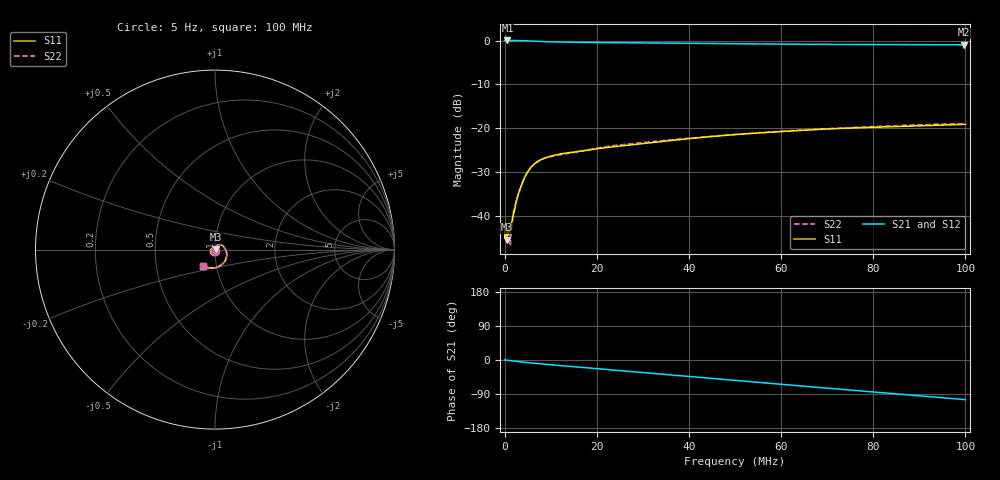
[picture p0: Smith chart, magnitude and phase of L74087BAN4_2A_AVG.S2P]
!Agilent Technologies,E5061B,MY49102235,A.02.00
!Date: Tue Jul 11 16:13:39 2023
!Data & Calibration Information:
!Freq	S11:SOLT2(ON)	S21:SOLT2(ON)	S12:SOLT2(ON)	S22:SOLT2(ON)
# Hz S RI R 50
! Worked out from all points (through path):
!   1600 points, 5 Hz to 100 MHz, reference 50 ohm
!   highest |S21| = 0.02 dB at 625.4 kHz (marker M1); lowest = -1.0 dB at 99.75 MHz (marker M2)
!   group delay of S21, straight-line fit = 2.86 ns
!   lowest |S11| = -45.3 dB at 500.3 kHz (marker M3), VSWR 1.01, Z = 50.5 + j0.271 ohm
!   |S11| at or under -10 dB: start of sweep to end of sweep
!   |S22| runs from -46.8 to -18.9 dB; largest |S21 - S12| = 0.0024
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5  -0.00518 -0.00564  1.002 0.00815  1 0.0102  -0.00153 -0.00756
500317.7  0.00469 0.00268  1.001 -0.0108  1.002 -0.0107  0.00491 0.00108
625395.8  0.00525 0.0033  1.002 -0.0143  1.002 -0.014  0.00627 0.0029
938091.3  0.00458 0.00546  1.001 -0.0208  1.001 -0.0205  0.00615 0.00488
1313326  0.00493 0.00605  1.001 -0.0296  1.001 -0.03  0.00314 0.0045
1688560  0.00453 0.008  0.9997 -0.0399  1.001 -0.0401  0.00426 0.00718
2063795  0.00416 0.0109  1 -0.0492  0.9999 -0.0498  0.00462 0.0107
2376490  0.00478 0.0126  0.9982 -0.0567  0.9989 -0.0572  0.00542 0.0129
2939342  0.00688 0.0161  0.9968 -0.0708  0.9965 -0.0713  0.00586 0.0165
3502194  0.0088 0.0194  0.9942 -0.085  0.9942 -0.085  0.00789 0.0201
4565358  0.0142 0.0252  0.9871 -0.1107  0.9871 -0.1106  0.0138 0.0256
5878679  0.0233 0.0284  0.9758 -0.1389  0.9758 -0.139  0.0228 0.0287
7504695  0.0331 0.0273  0.9618 -0.1684  0.9617 -0.1687  0.0329 0.0279
9443407  0.0412 0.0233  0.9476 -0.2009  0.9476 -0.201  0.0407 0.0233
1.669794e7  0.0547 0.0073  0.8992 -0.3164  0.8991 -0.3163  0.0544 0.00719
2.320201e7  0.0611 -0.00446  0.8492 -0.4173  0.8491 -0.4174  0.0629 -0.00572
3.333334e7  0.0652 -0.0261  0.7489 -0.5596  0.7489 -0.5595  0.0663 -0.0272
5.003127e7  0.0546 -0.0649  0.5407 -0.7423  0.5406 -0.7423  0.0544 -0.066
6.672921e7  0.02 -0.0942  0.2971 -0.8561  0.2973 -0.8562  0.0208 -0.095
8.33646e7  -0.0228 -0.1018  0.0365 -0.898  0.0363 -0.8982  -0.0225 -0.104
9.974984e7  -0.0647 -0.0903  -0.2225 -0.8659  -0.2224 -0.8661  -0.0646 -0.0932
1e8  -0.0653 -0.09  -0.2263 -0.865  -0.2264 -0.865  -0.0654 -0.0928
